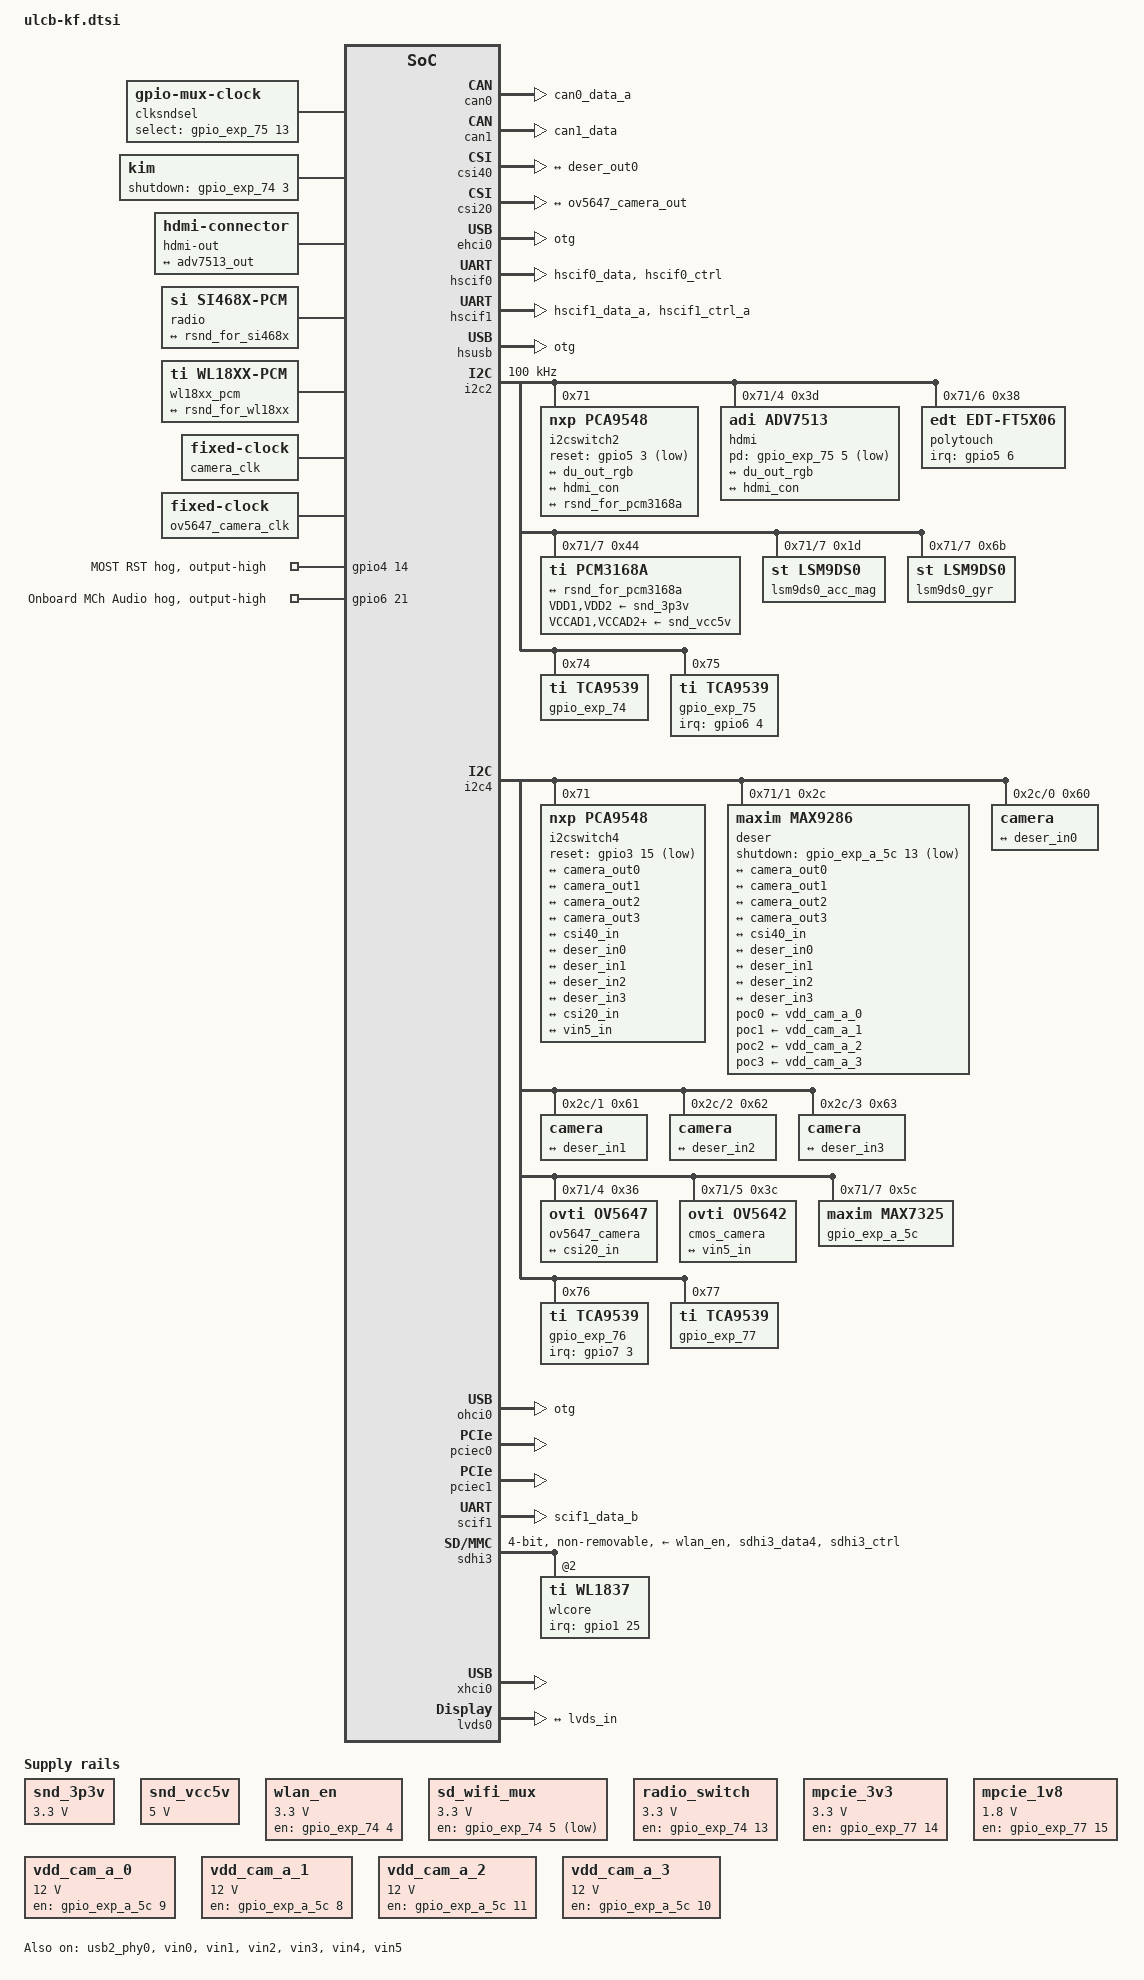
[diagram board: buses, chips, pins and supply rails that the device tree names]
// SPDX-License-Identifier: GPL-2.0
/*
 * Device Tree Source for the Kingfisher (ULCB extension) board
 *
 * Copyright (C) 2017-2020 Renesas Electronics Corp.
 * Copyright (C) 2017-2020 Cogent Embedded, Inc.
 */

/*
 * SSI-PCM3168A
 *	aplay   -D plughw:0,2 xxx.wav
 *	arecord -D plughw:0,3 xxx.wav
 */

#include "camera.dtsi"

/ {
	aliases {
		serial1 = &hscif0;
		serial2 = &scif1;
		serial3 = &hscif1;
		mmc2 = &sdhi3;
	};

	clksndsel: clksndsel {
		#clock-cells = <0>;
		compatible = "gpio-mux-clock";
		clocks = <&cs2000>, <&audio_clk_a>; /* clk8snd, clksnd */
		select-gpios = <&gpio_exp_75 13 GPIO_ACTIVE_HIGH>;
	};

	snd_3p3v: regulator-snd_3p3v {
		compatible = "regulator-fixed";
		regulator-name = "snd-3.3v";
		regulator-min-microvolt = <3300000>;
		regulator-max-microvolt = <3300000>;
	};

	snd_vcc5v: regulator-snd_vcc5v {
		compatible = "regulator-fixed";
		regulator-name = "snd-vcc5v";
		regulator-min-microvolt = <5000000>;
		regulator-max-microvolt = <5000000>;
	};

	wlan_en: regulator-wlan_en {
		compatible = "regulator-fixed";
		regulator-name = "wlan-en-regulator";

		regulator-min-microvolt = <3300000>;
		regulator-max-microvolt = <3300000>;

		gpio = <&gpio_exp_74 4 GPIO_ACTIVE_HIGH>;
		startup-delay-us = <70000>;
		enable-active-high;
	};

	sd_wifi_mux: regulator@9 {
		compatible = "regulator-fixed";
		regulator-name = "SD WiFi mux";
		regulator-min-microvolt = <3300000>;
		regulator-max-microvolt = <3300000>;
		gpio = <&gpio_exp_74 5 0>;
		enable-active-low;	/* Connect WL1837 */
		regulator-always-on;
	};

	radio_switch: regulator@11 {
		compatible = "regulator-fixed";
		regulator-name = "radio_on";
		regulator-min-microvolt = <3300000>;
		regulator-max-microvolt = <3300000>;
		gpio = <&gpio_exp_74 13 GPIO_ACTIVE_HIGH>;
		enable-active-high;
		regulator-always-on;
	};

	mpcie_3v3: regulator@12 {
		compatible = "regulator-fixed";
		regulator-name = "mPCIe 3v3";
		regulator-min-microvolt = <3300000>;
		regulator-max-microvolt = <3300000>;
		gpio = <&gpio_exp_77 14 GPIO_ACTIVE_HIGH>;
		enable-active-high;
	};

	mpcie_1v8: regulator@13 {
		compatible = "regulator-fixed";
		regulator-name = "mPCIe 1v8";
		regulator-min-microvolt = <1800000>;
		regulator-max-microvolt = <1800000>;
		gpio = <&gpio_exp_77 15 GPIO_ACTIVE_HIGH>;
		startup-delay-us = <200000>;
		enable-active-high;
	};

	vdd_cam_a_0: regulator@14 {
		compatible = "regulator-fixed";
		regulator-name = "Video-A PWR0";
		regulator-min-microvolt = <12000000>;
		regulator-max-microvolt = <12000000>;
		gpio = <&gpio_exp_a_5c 9 GPIO_ACTIVE_HIGH>;
		enable-active-high;
	};

	vdd_cam_a_1: regulator@15 {
		compatible = "regulator-fixed";
		regulator-name = "Video-A PWR1";
		regulator-min-microvolt = <12000000>;
		regulator-max-microvolt = <12000000>;
		gpio = <&gpio_exp_a_5c 8 GPIO_ACTIVE_HIGH>;
		enable-active-high;
	};

	vdd_cam_a_2: regulator@16 {
		compatible = "regulator-fixed";
		regulator-name = "Video-A PWR2";
		regulator-min-microvolt = <12000000>;
		regulator-max-microvolt = <12000000>;
		gpio = <&gpio_exp_a_5c 11 GPIO_ACTIVE_HIGH>;
		enable-active-high;
	};

	vdd_cam_a_3: regulator@17 {
		compatible = "regulator-fixed";
		regulator-name = "Video-A PWR3";
		regulator-min-microvolt = <12000000>;
		regulator-max-microvolt = <12000000>;
		gpio = <&gpio_exp_a_5c 10 GPIO_ACTIVE_HIGH>;
		enable-active-high;
	};

	kim {
		compatible = "kim";
		shutdown-gpios = <&gpio_exp_74 3 GPIO_ACTIVE_HIGH>;
		/* serial1 */
		dev_name = "/dev/ttySC1";
		flow_cntrl = <1>;
		/* int div 8 hscif@26.6666656MHz */
		baud_rate = <3333332>;
	};

	btwilink {
		compatible = "btwilink";
	};

	/delete-node/sound;

	sound_card: sound@0 {
		compatible = "audio-graph-card";
		label = "ak4613";

		dais = <&rsnd_port0	/* ak4613 */
			&rsnd_port1	/* HDMI0  */
			>;
	};

	sound_ext: sound@1 {
		compatible = "audio-graph-card";
		label = "pcm3168a";

		dais = <&rsnd_port2>;
	};

	sound_radio: sound@2 {
		compatible = "audio-graph-card";
		label = "radio";

		dais = <&rsnd_port3>;
	};

	sound_wl18xx: sound@3 {
		compatible = "audio-graph-card";
		label = "wl18xx";

		dais = <&rsnd_port4>;
	};

	lvds: lvds {
		port {
			lvds_in: endpoint {
				remote-endpoint = <&lvds0_out>;
			};
		};
	};

	hdmi-out {
		compatible = "hdmi-connector";
		type = "a";

		port {
			hdmi_con: endpoint {
				remote-endpoint = <&adv7513_out>;
			};
		};
	};

	radio: si468x@0 {
		compatible = "si,si468x-pcm";
		status = "okay";

		port {
			si468x_endpoint: endpoint {
				remote-endpoint = <&rsnd_for_si468x>;
				system-clock-frequency = <12288000>;
			};
		};
	};

	wl18xx_pcm: wl18xx_pcm@0 {
		compatible = "ti,wl18xx-pcm";
		status = "okay";

		port {
			wl18xx_endpoint: endpoint {
				remote-endpoint = <&rsnd_for_wl18xx>;
			};
		};
	};

	camera_clk: camera_clk {
		compatible = "fixed-clock";
		#clock-cells = <0>;
		clock-frequency = <24000000>;
		clock-output-names = "mclk";
	};

	ov5647_camera_clk: camera_clk {
		compatible = "fixed-clock";
		#clock-cells = <0>;
		clock-frequency = <25000000>;
		clock-output-names = "xclk";
	};
};

&can0 {
	pinctrl-0 = <&can0_pins>;
	pinctrl-names = "default";
	status = "okay";
};

&can1 {
	pinctrl-0 = <&can1_pins>;
	pinctrl-names = "default";
	status = "okay";
};

&canfd {
	pinctrl-0 = <&canfd0_pins &canfd1_pins>;
	pinctrl-names = "default";
	status = "disabled";

	channel0 {
		status = "okay";
	};

	channel1 {
		status = "okay";
	};
};

&csi40 {
	status = "okay";

	ports {
		#address-cells = <1>;
		#size-cells = <0>;

		port@0 {
			reg = <0>;

			csi40_in: endpoint {
				clock-lanes = <0>;
				data-lanes = <1 2 3 4>;
				remote-endpoint = <&deser_out0>;
			};
		};
	};
};

&csi20 {
	status = "okay";

	ports {
		#address-cells = <1>;
		#size-cells = <0>;

		port@0 {
			reg = <0>;

			csi20_in: endpoint {
				clock-lanes = <0>;
				data-lanes = <1 2>;
				remote-endpoint = <&ov5647_camera_out>;
			};
		};
	};
};

&du {
	pinctrl-0 = <&du_pins>;
	pinctrl-names = "default";
};

&ehci0 {
	dr_mode = "otg";
	status = "okay";
};

&gpio4 {
	most_rst {
		gpio-hog;
		gpios = <14 GPIO_ACTIVE_HIGH>;
		output-high;
		line-name = "MOST RST";
	};
};

&gpio6 {
	audio_sw {
		gpio-hog;
		gpios = <21 GPIO_ACTIVE_HIGH>;
		output-high;
		line-name = "Onboard MCh Audio";
	};
};

&hscif0 {
	pinctrl-0 = <&hscif0_pins>;
	pinctrl-names = "default";
	uart-has-rtscts;

	status = "okay";
};

&hscif1 {
	pinctrl-0 = <&hscif1_pins>;
	pinctrl-names = "default";

	status = "okay";
};

&hsusb {
	dr_mode = "otg";
	status = "okay";
};

&i2c2 {
	clock-frequency = <100000>;

	i2cswitch2: i2c-switch@71 {
		compatible = "nxp,pca9548";
		#address-cells = <1>;
		#size-cells = <0>;
		reg = <0x71>;
		reset-gpios = <&gpio5 3 GPIO_ACTIVE_LOW>;
		i2c-mux-idle-disconnect;

		i2c@0 {
			#address-cells = <1>;
			#size-cells = <0>;
			reg = <0>;
			/* BCM node(s) */
		};

		i2c@1 {
			#address-cells = <1>;
			#size-cells = <0>;
			reg = <1>;
			/* USB3.0 HUB node(s) */
		};

		i2c@2 {
			#address-cells = <1>;
			#size-cells = <0>;
			reg = <2>;
			/* Power amp node(s) */
		};

		i2c@3 {
			#address-cells = <1>;
			#size-cells = <0>;
			reg = <3>;
			/* Radio node(s) */
		};

		i2c@4 {
			#address-cells = <1>;
			#size-cells = <0>;
			reg = <4>;

			hdmi@3d {
				compatible = "adi,adv7513";
				reg = <0x3d>;
//				interrupt-parent = <&gpio2>;
//				interrupts = <0 IRQ_TYPE_EDGE_BOTH>;
				pd-gpios = <&gpio_exp_75 5 GPIO_ACTIVE_LOW>;

				interlace-allowed;
				adi,input-depth = <8>;
				adi,input-colorspace = "rgb";
				adi,input-clock = "1x";
				adi,input-style = <1>;
				adi,input-justification = "evenly";
				adi,clock-delay = <1200>;

				limit-frequency = <100000000>;
//				lower-refresh = <50>;

				ports {
					#address-cells = <1>;
					#size-cells = <0>;

					port@0 {
						reg = <0>;
						adv7513_in: endpoint {
							remote-endpoint = <&du_out_rgb>;
						};
					};

					port@1 {
						reg = <1>;
						adv7513_out: endpoint {
							remote-endpoint = <&hdmi_con>;
						};
					};
				};
			};
		};

		i2c@5 {
			#address-cells = <1>;
			#size-cells = <0>;
			reg = <5>;
			/* PCIe node(s) */
		};

		i2c@6 {
			#address-cells = <1>;
			#size-cells = <0>;
			reg = <6>;
			/* LVDS display node(s) */

			polytouch: edt-ft5x06@38 {
				compatible = "edt,edt-ft5x06";
				reg = <0x38>;
				interrupt-parent = <&gpio5>;
				interrupts = <6 IRQ_TYPE_EDGE_FALLING>;
			};
		};

		/* Audio_SDA, Audio_SCL */
		i2c@7 {
			#address-cells = <1>;
			#size-cells = <0>;
			reg = <7>;

			pcm3168a: audio-codec@44 {
				#sound-dai-cells = <0>;
				compatible = "ti,pcm3168a";
				reg = <0x44>;
				clocks = <&clksndsel>;
				clock-names = "scki";
				tdm;

				VDD1-supply	= <&snd_3p3v>;
				VDD2-supply	= <&snd_3p3v>;
				VCCAD1-supply	= <&snd_vcc5v>;
				VCCAD2-supply	= <&snd_vcc5v>;
				VCCDA1-supply	= <&snd_vcc5v>;
				VCCDA2-supply	= <&snd_vcc5v>;

				port {
					pcm3168a_endpoint: endpoint {
						remote-endpoint = <&rsnd_for_pcm3168a>;
						clocks = <&clksndsel>;
					};
				};
			};

			lsm9ds0_acc_mag@1d {
				compatible = "st,lsm9ds0";
				reg = <0x1d>;
			};

			lsm9ds0_gyr@6b {
				compatible = "st,lsm9ds0";
				reg = <0x6b>;
			};

			/* GPS@ 0x42 */
		};
	};

	/* U11 */
	gpio_exp_74: gpio@74 {
		compatible = "ti,tca9539";
		reg = <0x74>;
		gpio-controller;
		#gpio-cells = <2>;
/*
		interrupt-controller;
		interrupt-parent = <&gpio6>;
		interrupts = <8 IRQ_TYPE_EDGE_FALLING>;
*/
		audio-out-off-hog {
			gpio-hog;
			gpios = <0 GPIO_ACTIVE_HIGH>; /* P00 */
			output-high;
			line-name = "Audio_Out_OFF";
		};

		hub-pwen-hog {
			gpio-hog;
			gpios = <6 GPIO_ACTIVE_HIGH>;
			output-high;
			line-name = "HUB pwen";
		};

		hub-rst-hog {
			gpio-hog;
			gpios = <7 GPIO_ACTIVE_HIGH>;
			output-high;
			line-name = "HUB rst";
		};

		otg-extlpn-hog {
			gpio-hog;
			gpios = <9 GPIO_ACTIVE_HIGH>;
			output-high;
			line-name = "OTG EXTLPn";
		};

		otg-offvbusn-hog {
			gpio-hog;
			gpios = <8 GPIO_ACTIVE_HIGH>;
			output-low;
			line-name = "OTG OFFVBUSn";
		};

		snd-rst-hog {
			gpio-hog;
			gpios = <15 GPIO_ACTIVE_HIGH>; /* P17 */
			output-high;
			line-name = "SND_RST";
		};
	};

	/* U5 */
	gpio_exp_75: gpio@75 {
		compatible = "ti,tca9539";
		reg = <0x75>;
		gpio-controller;
		#gpio-cells = <2>;
		interrupt-controller;
		interrupt-parent = <&gpio6>;
		interrupts = <4 IRQ_TYPE_EDGE_FALLING>;

		gps_rst {
			gpio-hog;
			gpios = <6 GPIO_ACTIVE_HIGH>;
			output-high;
			line-name = "GPS rst";
		};
		fpdl_shdn {
			gpio-hog;
			gpios = <9 GPIO_ACTIVE_HIGH>;
			output-high;
			line-name = "FPDLink shdn";
		};
	};
};

&i2c4 {
	i2cswitch4: i2c-switch@71 {
		compatible = "nxp,pca9548";
		#address-cells = <1>;
		#size-cells = <0>;
		reg = <0x71>;
		reset-gpios = <&gpio3 15 GPIO_ACTIVE_LOW>;

		/* SAM node(s) */
		i2c@0 {
			#address-cells = <1>;
			#size-cells = <0>;
			reg = <0>;
		};

		/* Slot A (CN10) */
		i2cswitch4_i2c1: i2c@1 {
			#address-cells = <1>;
			#size-cells = <0>;
			reg = <1>;

			deser@2c {
				compatible = "maxim,max9286", "ti,ub9x4";
				#address-cells = <1>;
				#size-cells = <0>;
				reg = <0x2c 0x3a>;
				reg-names = "max9286", "ub9x4";
				regs = <0x0c 0x0d 0x0e 0x0f>;
				shutdown-gpios = <&gpio_exp_a_5c 13 GPIO_ACTIVE_LOW>;

				poc0-supply = <&vdd_cam_a_0>;
				poc1-supply = <&vdd_cam_a_1>;
				poc2-supply = <&vdd_cam_a_2>;
				poc3-supply = <&vdd_cam_a_3>;

				ports {
					#address-cells = <1>;
					#size-cells = <0>;

					port@0 {
						reg = <0>;
						deser_in0: endpoint {
							remote-endpoint = <&camera_out0>;
						};
					};

					port@1 {
						reg = <1>;
						deser_in1: endpoint {
							remote-endpoint = <&camera_out1>;
						};
					};

					port@2 {
						reg = <2>;
						deser_in2: endpoint {
							remote-endpoint = <&camera_out2>;
						};
					};

					port@3 {
						reg = <3>;
						deser_in3: endpoint {
							remote-endpoint = <&camera_out3>;
						};
					};

					port@4 {
						reg = <4>;
						deser_out0: endpoint {
							clock-lanes = <0>;
							data-lanes = <1 2 3 4>;
							remote-endpoint = <&csi40_in>;
						};
					};
				};

				i2c@0 {
					#address-cells = <1>;
					#size-cells = <0>;
					reg = <0>;

					camera@60 {
						compatible = LVDS_CAMERA;
						reg = <0x60 0x0c>;

						port {
							camera_out0: endpoint {
								remote-endpoint = <&deser_in0>;
							};
						};
					};
				};


				i2c@1 {
					#address-cells = <1>;
					#size-cells = <0>;
					reg = <1>;

					camera@61 {
						compatible = LVDS_CAMERA;
						reg = <0x61 0x0d>;

						port {
							camera_out1: endpoint {
								remote-endpoint = <&deser_in1>;
							};
						};
					};
				};

				i2c@2 {
					#address-cells = <1>;
					#size-cells = <0>;
					reg = <2>;

					camera@62 {
						compatible = LVDS_CAMERA;
						reg = <0x62 0x0e>;

						port {
							camera_out2: endpoint {
								remote-endpoint = <&deser_in2>;
							};
						};
					};
				};

				i2c@3 {
					#address-cells = <1>;
					#size-cells = <0>;
					reg = <3>;

					camera@63 {
						compatible = LVDS_CAMERA;
						reg = <0x63 0x0f>;

						port {
							camera_out3: endpoint {
								remote-endpoint = <&deser_in3>;
							};
						};
					};
				};
			};
		};

		i2c@3 {
			#address-cells = <1>;
			#size-cells = <0>;
			reg = <3>;
			/* MOST node(s) */
		};

		i2c@4 {
			#address-cells = <1>;
			#size-cells = <0>;
			reg = <4>;

			ov5647_camera: ov5647@36 {
				compatible = "ovti,ov5647";
				reg = <0x36>;
				clocks = <&ov5647_camera_clk>;

				port@0 {
					ov5647_camera_out: endpoint {
						clock-lanes = <0>;
						data-lanes = <1 2>;
						remote-endpoint = <&csi20_in>;
					};
				};
			};
		};

		i2c@5 {
			#address-cells = <1>;
			#size-cells = <0>;
			reg = <5>;

			cmos_camera: ov5642@3c {
				compatible = "ovti,ov5642";
				reg = <0x3c>;
				clocks = <&camera_clk>;
				clock-names = "mclk";

				port@0 {
					cmos_camera_out: endpoint {
						remote-endpoint = <&vin5_in>;
					};
				};
			};
		};

		i2cswitch4_i2c7: i2c@7 {
			#address-cells = <1>;
			#size-cells = <0>;
			reg = <7>;

			/* Slot A (CN10) */
			gpio_exp_a_5c: gpio@5c {
				compatible = "maxim,max7325";
				reg = <0x5c>;
				gpio-controller;
				#gpio-cells = <2>;

				video_a_des_cfg2 {
					gpio-hog;
					gpios = <4 GPIO_ACTIVE_HIGH>;
					input;
					line-name = "Video-A cfg2";
				};
				video_a_des_cfg1 {
					gpio-hog;
					gpios = <6 GPIO_ACTIVE_HIGH>;
					input;
					line-name = "Video-A cfg1";
				};
				video_a_des_cfg0 {
					gpio-hog;
					gpios = <7 GPIO_ACTIVE_HIGH>;
					input;
					line-name = "Video-A cfg0";
				};
				video_a_pwr_shdn {
					gpio-hog;
					gpios = <14 GPIO_ACTIVE_HIGH>;
					output-high;
					line-name = "Video-A PWR_SHDN";
				};
				video_a_led {
					gpio-hog;
					gpios = <12 GPIO_ACTIVE_HIGH>;
					output-low;
					line-name = "Video-A LED";
				};
			};
		};
	};

	gpio_exp_76: gpio@76 {
		compatible = "ti,tca9539";
		reg = <0x76>;
		gpio-controller;
		#gpio-cells = <2>;
		interrupt-controller;
		interrupt-parent = <&gpio7>;
		interrupts = <3 IRQ_TYPE_EDGE_FALLING>;

		port_b_a0 {
			gpio-hog;
			gpios = <0 GPIO_ACTIVE_HIGH>;
			output-low;
			line-name = "Video-B A0";
		};
		port_b_a1 {
			gpio-hog;
			gpios = <1 GPIO_ACTIVE_HIGH>;
			output-high;
			line-name = "Video-B A1";
		};
		port_a_a0 {
			gpio-hog;
			gpios = <2 GPIO_ACTIVE_HIGH>;
			output-low;
			line-name = "Video-A A0";
		};
		port_a_a1 {
			gpio-hog;
			gpios = <3 GPIO_ACTIVE_HIGH>;
			output-high;
			line-name = "Video-A A1";
		};
		cmos_pwdn {
			gpio-hog;
			gpios = <8 GPIO_ACTIVE_HIGH>;
			output-high;
			line-name = "CMOS PWDN";
		};
		cmos_rst {
			gpio-hog;
			gpios = <9 GPIO_ACTIVE_HIGH>;
			output-high;
			line-name = "CMOS RST";
		};
		/* pin 12 - CAM_CLK */
		rpi_cam_io_1 {
			gpio-hog;
			gpios = <10 GPIO_ACTIVE_HIGH>;
			output-high;
			line-name = "RaspB_IO1";
		};
		/* pin 11 - CAM_GPIO - assume pwdn */
		rpi_cam_io_0 {
			gpio-hog;
			gpios = <11 GPIO_ACTIVE_HIGH>;
			output-high;
			line-name = "RaspB_IO0";
		};
		sam_rst {
			gpio-hog;
			gpios = <4 GPIO_ACTIVE_HIGH>;
			output-high;
			line-name = "SAM RST";
		};
		sam_pwr {
			gpio-hog;
			gpios = <5 GPIO_ACTIVE_HIGH>;
			output-low;
			line-name = "SAM PWR";
		};
		/* 0 - FPDLink output, 1 - LVDS output */
		lvds_vs_fpdl {
			gpio-hog;
			gpios = <14 GPIO_ACTIVE_HIGH>;
			output-high;
			line-name = "LVDS switch";
		};
	};

	gpio_exp_77: gpio@77 {
		compatible = "ti,tca9539";
		reg = <0x77>;
		gpio-controller;
		#gpio-cells = <2>;
/*
		interrupt-controller;
		interrupt-parent = <&gpio5>;
		interrupts = <9 IRQ_TYPE_EDGE_FALLING>;
*/
		mpcie_wake {
			gpio-hog;
			gpios = <0 GPIO_ACTIVE_HIGH>;
			output-low;
			line-name = "mPCIe WAKE#";
		};
		mpcie_wdisable {
			gpio-hog;
			gpios = <1 GPIO_ACTIVE_HIGH>;
			output-high;
			line-name = "mPCIe W_DISABLE";
		};
		mpcie_clreq {
			gpio-hog;
			gpios = <2 GPIO_ACTIVE_HIGH>;
			input;
			line-name = "mPCIe CLKREQ#";
		};
		mpcie_ovc {
			gpio-hog;
			gpios = <3 GPIO_ACTIVE_HIGH>;
			input;
			line-name = "mPCIe OVC";
		};
	};
};

&msiof1 {
	status = "disabled";
};

&ohci0 {
	dr_mode = "otg";
	status = "okay";
};

&pcie_bus_clk {
	clock-frequency = <100000000>;
	status = "okay";
};

&pciec0 {
	status = "okay";
};

&pciec1 {
	status = "okay";

	pcie3v3-supply = <&mpcie_3v3>;
	pcie1v8-supply = <&mpcie_1v8>;
};

&pfc {
	can0_pins: can0 {
		groups = "can0_data_a";
		function = "can0";
	};

	can1_pins: can1 {
		groups = "can1_data";
		function = "can1";
	};

	canfd0_pins: canfd0 {
		groups = "canfd0_data_a";
		function = "canfd0";
	};

	canfd1_pins: canfd1 {
		groups = "canfd1_data";
		function = "canfd1";
	};

	du_pins: du {
		groups = "du_rgb888", "du_sync", "du_clk_out_0", "du_disp";
		function = "du";
	};

	hscif0_pins: hscif0 {
		groups = "hscif0_data", "hscif0_ctrl";
		function = "hscif0";
	};

	hscif1_pins: hscif1 {
		groups = "hscif1_data_a", "hscif1_ctrl_a";
		function = "hscif1";
	};

	scif1_pins: scif1 {
		groups = "scif1_data_b";
		function = "scif1";
	};

	sdhi3_pins: sdhi3 {
		groups = "sdhi3_data4", "sdhi3_ctrl";
		function = "sdhi3";
		power-source = <3300>;
	};

	sound_pcm_pins: sound-pcm {
		groups = "ssi349_ctrl", "ssi3_data", "ssi4_data",
			 "ssi6_ctrl", "ssi6_data",
			 "ssi78_ctrl", "ssi7_data", "ssi8_data";
		function = "ssi";
	};

	usb0_pins: usb0 {
		groups = "usb0";
		function = "usb0";
	};

	vin5_pins: vin5 {
		groups = "vin5_data8", "vin5_sync", "vin5_clk";
		function = "vin5";
	};
};

&rcar_sound {
	pinctrl-0 = <&sound_pins
		     &sound_clk_pins
		     &sound_pcm_pins>;

	/* Multi DAI */
	#sound-dai-cells = <1>;

	ports {
		/* rsnd_port0/1 are in ulcb.dtsi */
		rsnd_port2: port@2 {
			reg = <2>;
			rsnd_for_pcm3168a: endpoint {
				remote-endpoint = <&pcm3168a_endpoint>;

				dai-format = "i2s";
				bitclock-master = <&rsnd_for_pcm3168a>;
				frame-master = <&rsnd_for_pcm3168a>;
				dai-tdm-slot-num = <8>;
				dai-tdm-slot-width = <32>;

				playback = <&ssi3>;
				capture  = <&ssi4>;
			};
		};
		rsnd_port3: port@3 {
			reg = <3>;
			rsnd_for_si468x: endpoint {
				remote-endpoint = <&si468x_endpoint>;

				dai-format = "i2s";
				bitclock-master = <&si468x_endpoint>;
				frame-master = <&si468x_endpoint>;

				capture = <&ssi6>;
			};
		};
		rsnd_port4: port@4 {
			reg = <4>;
			rsnd_for_wl18xx: endpoint {
				remote-endpoint = <&wl18xx_endpoint>;

				simple-audio-card,format = "i2s";
				bitclock-master = <&wl18xx_endpoint>;
				frame-master = <&wl18xx_endpoint>;

				playback = <&ssi7>;
				capture = <&ssi8>;
			};
		};
	};
};

&scif1 {
	pinctrl-0 = <&scif1_pins>;
	pinctrl-names = "default";

	status = "okay";
};

&sdhi3 {
	pinctrl-0 = <&sdhi3_pins>;
	pinctrl-names = "default";

	vmmc-supply = <&wlan_en>;
	vqmmc-supply = <&wlan_en>;
	bus-width = <4>;
	no-1-8-v;
	non-removable;
	cap-power-off-card;
	keep-power-in-suspend;
	max-frequency = <50000000>;
	status = "okay";

	#address-cells = <1>;
	#size-cells = <0>;
	wlcore: wlcore@2 {
		compatible = "ti,wl1837";
		reg = <2>;
		interrupt-parent = <&gpio1>;
		interrupts = <25 IRQ_TYPE_EDGE_FALLING>;
	};
};

&ssi4 {
	shared-pin;
};

&ssi8 {
	shared-pin;
};

&usb2_phy0 {
	pinctrl-0 = <&usb0_pins>;
	pinctrl-names = "default";

	status = "okay";
};

&vin0 {
	status = "okay";
};

&vin1 {
	status = "okay";
};

&vin2 {
	status = "okay";
};

&vin3 {
	status = "okay";
};


&vin4 {
	status = "okay";
};


&vin5 {
	pinctrl-0 = <&vin5_pins>;
	pinctrl-names = "default";
	status = "okay";

	ports {
		#address-cells = <1>;
		#size-cells = <0>;

		port@0 {
			vin5_in: endpoint@0 {
				bus-width = <8>;
				vsync-active = <1>;
				hsync-active = <0>;
				data-enable-active = <0>;
				remote-endpoint = <&cmos_camera_out>;
			};
		};
	};
};

&xhci0 {
	status = "okay";
};

&du {
	ports {
		port@0 {
			endpoint {
				remote-endpoint = <&adv7513_in>;
			};
		};
	};
};

&lvds0 {
	status = "okay";

	ports {
		port@1 {
			lvds0_out: endpoint {
				remote-endpoint = <&lvds_in>;
			};
		};
	};
};

/* set LVDS panel timings and pins */
#include "ulcb-kf-panel.dtsi"
